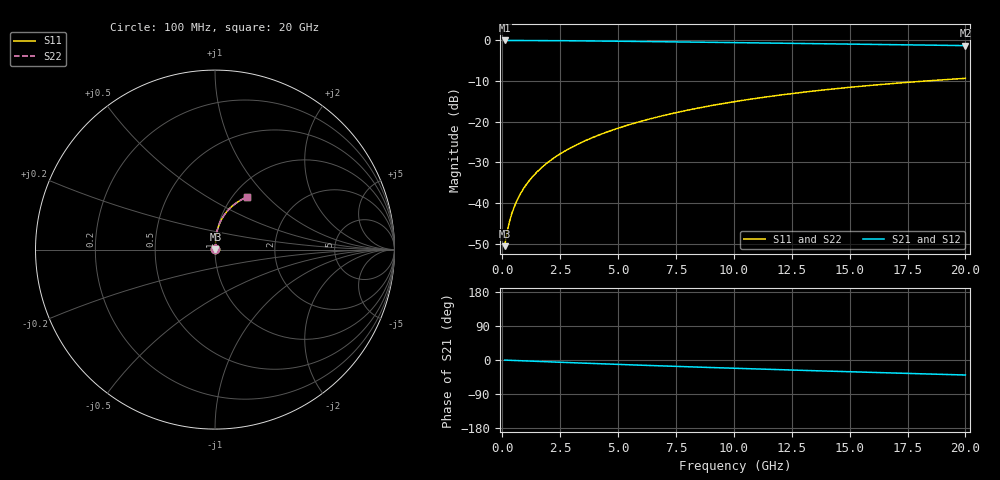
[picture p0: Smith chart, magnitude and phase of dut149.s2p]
! Touchstone file exported from HFSS 2024.1.0
!  File:  C:/UserFiles/LocalFiles/RDL_TSV_Batchsim/temp_RDL_top_149_1778685044.aedt
!  Generated:  11:12:41 PM May 13, 2026
!  Design:  RDL_top
!  Project:  temp_RDL_top_149_1778685044
!  Setup:  Setup1
!  Solution:  Sweep
! Variables:
!  dtsv = 10.80580581um
!  hbump = 3um
!  htsv = 51.26um
!  ldown = 100um
!  lrdl = 593.42um
!  p = 40
!  p1 = 46.58um
!  rhole = 1um
!  t = 450um
!  tdown = 3.915915916um
!  trdl = 4.44um
!  wdown = 15.38538539um
!  wrdl = 21.9um
# GHz S MA R 50.000000
! Terminal data exported
! Port[1] = Box2_T1
! Port[2] = Box2_T2
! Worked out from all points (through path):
!   200 points, 100 MHz to 20 GHz, reference 50 ohm
!   highest |S21| = -0.02 dB at 100 MHz (marker M1); lowest = -1.3 dB at 20 GHz (marker M2)
!   group delay of S21, straight-line fit = 5.44 ps
!   lowest |S11| = -50.6 dB at 100 MHz (marker M3), VSWR 1.01, Z = 50.2 + j0.179 ohm
!   |S11| at or under -10 dB: start of sweep to 18.27 GHz
!   |S22| runs from -50.6 to -9.3 dB; largest |S21 - S12| = 2.7e-15
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0.1  0.00294 37.3  0.9977 -0.3  0.9977 -0.3  0.00294 37.3
! Gamma 0 0 0 0
! Port Impedance 50 0 50 0
0.2  0.004276 54.6  0.9975 -0.5  0.9975 -0.5  0.004275 54.6
0.3  0.005739 62.8  0.9973 -0.7  0.9973 -0.7  0.005739 62.8
0.4  0.007217 67.7  0.9971 -1.0  0.9971 -1.0  0.007217 67.7
0.5  0.008701 71.0  0.9969 -1.2  0.9969 -1.2  0.0087 71.0
0.6  0.01019 73.5  0.9968 -1.5  0.9968 -1.5  0.01019 73.5
0.8  0.01321 76.9  0.9964 -1.9  0.9964 -1.9  0.01321 76.9
1.1  0.01782 80.0  0.9958 -2.7  0.9958 -2.7  0.01782 80.0
1.3  0.02094 81.4  0.9953 -3.1  0.9953 -3.1  0.02093 81.4
1.6  0.02566 82.7  0.9945 -3.9  0.9945 -3.9  0.02566 82.7
2.1  0.03366 84.1  0.9927 -5.0  0.9927 -5.0  0.03366 84.1
2.7  0.04347 85.0  0.9901 -6.4  0.9901 -6.4  0.04347 85.0
3.5  0.0569 85.3  0.9859 -8.3  0.9859 -8.3  0.05689 85.3
4.2  0.06897 85.2  0.9817 -9.9  0.9817 -9.9  0.06896 85.2
5  0.08311 84.7  0.9764 -11.6  0.9764 -11.6  0.08311 84.7
6.8  0.116 82.7  0.9634 -15.4  0.9634 -15.4  0.116 82.7
8.4  0.1459 80.2  0.9513 -18.7  0.9513 -18.7  0.1459 80.2
10.1  0.1776 77.2  0.9382 -22.0  0.9382 -22.0  0.1776 77.2
11.7  0.207 74.3  0.9259 -25.0  0.9259 -25.0  0.207 74.3
13.4  0.2372 71.0  0.9127 -28.1  0.9127 -28.1  0.2372 71.0
16.7  0.2921 64.7  0.8872 -34.0  0.8872 -34.0  0.2921 64.7
20  0.3413 58.8  0.862 -39.6  0.862 -39.6  0.3412 58.8
